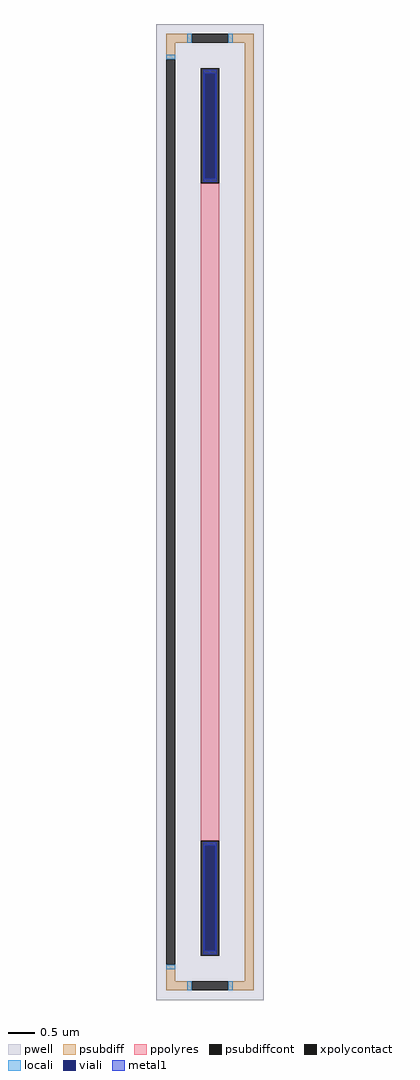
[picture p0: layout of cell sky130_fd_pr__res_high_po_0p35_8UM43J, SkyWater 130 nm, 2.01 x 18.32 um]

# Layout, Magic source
magic
tech sky130A
magscale 1 2
<< pwell >>
rect -201 -1832 201 1832
<< psubdiff >>
rect -165 1762 -69 1796
rect 69 1762 165 1796
rect -165 1700 -131 1762
rect -165 -1762 -131 -1700
rect 131 -1762 165 1762
rect -165 -1796 -69 -1762
rect 69 -1796 165 -1762
<< psubdiffcont >>
rect -69 1762 69 1796
rect -165 -1700 -131 1700
rect -69 -1796 69 -1762
<< xpolycontact >>
rect -35 1234 35 1666
rect -35 -1666 35 -1234
<< ppolyres >>
rect -35 -1234 35 1234
<< locali >>
rect -85 1762 -69 1796
rect 69 1762 85 1796
rect -165 1700 -131 1716
rect -165 -1716 -131 -1700
rect -85 -1796 -69 -1762
rect 69 -1796 85 -1762
<< viali >>
rect -19 1251 19 1648
rect -19 -1648 19 -1251
<< metal1 >>
rect -25 1648 25 1660
rect -25 1251 -19 1648
rect 19 1251 25 1648
rect -25 1239 25 1251
rect -25 -1251 25 -1239
rect -25 -1648 -19 -1251
rect 19 -1648 25 -1251
rect -25 -1660 25 -1648
<< properties >>
string FIXED_BBOX -148 -1779 148 1779
string gencell sky130_fd_pr__res_high_po_0p35
string library sky130
string parameters w 0.350 l 12.5 m 1 nx 1 wmin 0.350 lmin 0.50 rho 319.8 val 12.534k dummy 0 dw 0.0 term 194.82 sterm 0.0 caplen 0 guard 1 glc 1 grc 0 gtc 1 gbc 1 compatible {sky130_fd_pr__res_high_po_0p35  sky130_fd_pr__res_high_po_0p69 sky130_fd_pr__res_high_po_1p41  sky130_fd_pr__res_high_po_2p85 sky130_fd_pr__res_high_po_5p73} snake 0 full_metal 0 wmax 0.350 vias 1 n_guard 0 hv_guard 0 viagb 0 viagt 0 viagl 0 viagr 0
<< end >>
